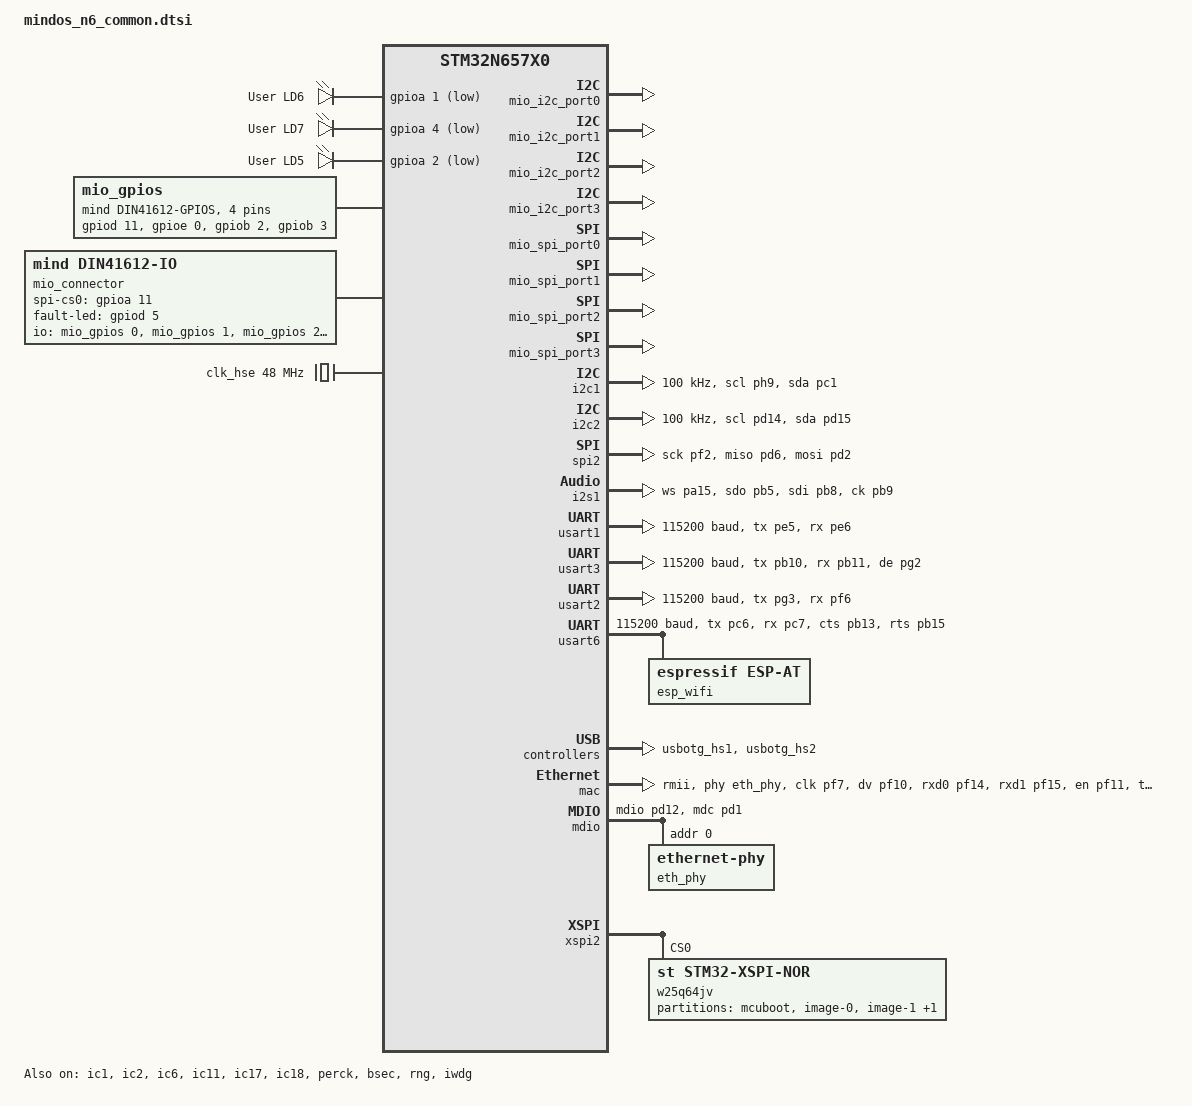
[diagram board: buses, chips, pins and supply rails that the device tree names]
/*
 * Copyright (c) 2025 STMicroelectronics
 *
 * SPDX-License-Identifier: Apache-2.0
 */

#include <st/n6/stm32n657X0.dtsi>
#include <st/n6/stm32n657x0hxq-pinctrl.dtsi>
#include <zephyr/dt-bindings/flash_controller/xspi.h>
#include <zephyr/dt-bindings/gpio/raspberrypi-csi-connector.h>
#include <zephyr/dt-bindings/input/input-event-codes.h>

/ {
	chosen {
		zephyr,console = &usart1;
		zephyr,shell-uart = &usart1;
		zephyr,sram = &axisram2;
		zephyr,canbus = &fdcan1;
		spi-flash0 = &w25q64jv;
		zephyr,flash-controller = &w25q64jv;
		zephyr,flash = &ext_flash;
		zephyr,code-partition = &slot0_partition;
		mcuboot,image-ram = &axisram1;
	};

	leds: leds {
		compatible = "gpio-leds";

		green_led: led_1 {
			gpios = <&gpioa 1 GPIO_ACTIVE_LOW>;
			label = "User LD6";
		};

		blue_led: led_2 {
			gpios = <&gpioa 4 GPIO_ACTIVE_LOW>;
			label = "User LD7";
		};

		red_led: led_3 {
			gpios = <&gpioa 2 GPIO_ACTIVE_LOW>;
			label = "User LD5";
		};
	};

	aliases {
		led0 = &green_led;
		led1 = &blue_led;
		led2 = &red_led;
		rtc = &rtc;
		watchdog0 = &iwdg;
	};
};

&clk_hse {
	hse-div2;
	clock-frequency = <DT_FREQ_M(48)>;
	status = "okay";
};

&clk_hsi {
	hsi-div = <1>;
	status = "okay";
};

&clk_lse {
	status = "disabled";
};

&pll1 {
	clocks = <&clk_hse>;
	div-m = <3>;
	mul-n = <150>;
	div-p1 = <1>;
	div-p2 = <1>;
	status = "okay";
};

&pll3 {
	clocks = <&clk_hse>;
	div-m = <3>;
	mul-n = <125>;
	div-p1 = <1>;
	div-p2 = <1>;
	status = "okay";
};

&ic1 {
	pll-src = <1>;
	ic-div = <3>;
	status = "okay";
};

&ic2 {
	pll-src = <1>;
	ic-div = <6>;
	status = "okay";
};

&ic6 {
	pll-src = <3>;
	ic-div = <2>;
	status = "okay";
};

&ic11 {
	pll-src = <1>;
	ic-div = <3>;
	status = "okay";
};

&ic17 {
	pll-src = <1>;
	ic-div = <4>;
	status = "okay";
};

/* IC18 must be enabled for the 27MHz CSIPHY */
&ic18 {
	pll-src = <1>;
	ic-div = <60>;
	status = "okay";
};

&perck {
	clocks = <&rcc STM32_SRC_HSI PER_SEL(0)>;
	status = "okay";
};

&cpusw {
	clocks = <&rcc STM32_SRC_IC1 CPU_SEL(3)>;
	clock-frequency = <DT_FREQ_M(800)>;
	status = "okay";
};

&rcc {
	/* ic2, ic6 & ic11 must all be enabled to set ic2 as SYSCLK */
	clocks = <&ic2>;
	clock-frequency = <DT_FREQ_M(400)>;
	ahb-prescaler = <2>;
	timg-prescaler = <2>;
};

io_cnf_i2c:&i2c1 {
	clocks = <&rcc STM32_CLOCK(APB1, 21)>,
		 <&rcc STM32_SRC_CKPER I2C1_SEL(1)>;
	pinctrl-0 = <&i2c1_scl_ph9 &i2c1_sda_pc1>;
	pinctrl-names = "default";
	scl-gpios = <&gpioh 9 GPIO_ACTIVE_HIGH>;
	sda-gpios = <&gpioc 1 GPIO_ACTIVE_HIGH>;
	clock-frequency = <I2C_BITRATE_STANDARD>;
	status = "okay";
};

io_i2c: &i2c2 {
	clocks = <&rcc STM32_CLOCK(APB1, 22)>,
		 <&rcc STM32_SRC_CKPER I2C2_SEL(1)>;
	pinctrl-0 = <&i2c2_scl_pd14 &i2c2_sda_pd15>;
	pinctrl-names = "default";
	scl-gpios = <&gpiod 14 GPIO_ACTIVE_HIGH>;
	sda-gpios = <&gpiod 15 GPIO_ACTIVE_HIGH>;
	clock-frequency = <I2C_BITRATE_STANDARD>;
	status = "okay";
};

io_spi:&spi2 {
	clocks = <&rcc STM32_CLOCK(APB1, 14)>,
		 <&rcc STM32_SRC_CKPER SPI2_SEL(1)>;
	/* IO_SPI_CS0 (PA11) is a GPIO driven by the I/O card SPI port slots */
	pinctrl-0 = <&spi2_sck_pf2 &spi2_miso_pd6 &spi2_mosi_pd2>;
	pinctrl-names = "default";
	status = "okay";
};

io_i2s:&i2s1 {
        clocks = <&rcc STM32_CLOCK(APB2, 12)>,
                 <&rcc STM32_SRC_CKPER SPI1_SEL(1)>;
        pinctrl-0 = <&i2s1_ws_pa15 &i2s1_sdo_pb5 &i2s1_sdi_pb8 &i2s1_ck_pb9>;
        pinctrl-names = "default";
        status = "okay";
};

io_debug:&usart1 {
	clocks = <&rcc STM32_CLOCK(APB2, 4)>,
		 <&rcc STM32_SRC_CKPER USART1_SEL(1)>;
	pinctrl-0 = <&usart1_tx_pe5 &usart1_rx_pe6>;
	pinctrl-names = "default";
	current-speed = <115200>;
	status = "okay";
};

io_rs485: &usart3 {
	clocks = <&rcc STM32_CLOCK(APB1, 18)>,
		 <&rcc STM32_SRC_CKPER USART3_SEL(1)>;
	pinctrl-0 = <&usart3_tx_pb10 &usart3_rx_pb11 &usart3_de_pg2>;
	pinctrl-names = "default";
	current-speed = <115200>;
	de-enable;
	status = "okay";
};

io_uart:&usart2 {
        clocks = <&rcc STM32_CLOCK(APB1, 17)>,
                 <&rcc STM32_SRC_CKPER USART2_SEL(1)>;
        pinctrl-0 = <&usart2_tx_pg3 &usart2_rx_pf6>;
        pinctrl-names = "default";
        current-speed = <115200>;
        status = "okay";
};

io_rs485_uart:&usart3 {
	clocks = <&rcc STM32_CLOCK(APB1, 18)>,
		 <&rcc STM32_SRC_CKPER USART3_SEL(1)>;
	pinctrl-0 = <&usart3_tx_pb10 &usart3_rx_pb11  &usart3_de_pg2>;
	pinctrl-names = "default";
	current-speed = <115200>;
	de-enable;
	status = "okay";
};

esp_wifi_uart:&usart6 {
        clocks = <&rcc STM32_CLOCK(APB2, 5)>,
                 <&rcc STM32_SRC_CKPER USART6_SEL(1)>;
        pinctrl-0 = <&usart6_tx_pc6 &usart6_rx_pc7 &usart6_cts_pb13 &usart6_rts_pb15>;
	        pinctrl-names = "default";
        current-speed = <115200>;
        status = "okay";

	esp_wifi: esp-wifi {
        	compatible = "espressif,esp-at";
        //power-gpios = <&gpio0 18 (GPIO_ACTIVE_HIGH | GPIO_OPEN_DRAIN)>;
        	status = "okay";
    	};

};

zephyr_udc0: &usbotg_hs1 {
	status = "okay";
};

zephyr_udc1: &usbotg_hs2 {
        status = "okay";
};

&mac {
	status = "okay";
	pinctrl-0 = <&eth1_rmii_ref_clk_pf7
		     &eth1_rmii_crs_dv_pf10
		     &eth1_rmii_rxd0_pf14
		     &eth1_rmii_rxd1_pf15
		     &eth1_rmii_tx_en_pf11
		     &eth1_rmii_txd0_pf12
		     &eth1_rmii_txd1_pf13>;
	pinctrl-names = "default";
	phy-connection-type = "rmii";
	phy-handle = <&eth_phy>;
	/*
	 * An area of OTP is dedicated to holding Ethernet MAC addresses;
	 * however, it is not programmed during manufacturing. Reading an
	 * unprogrammed OTP returns all zeroes, which breaks Ethernet if used
	 * as MAC address. To allow the use of Ethernet even on virgin boards,
	 * we do not define the nvmem-cell properties below (commented out)
	 * so that default MAC address source is not the OTP memory.
	 *
	 * Once a MAC address has been programmed in OTP, you can enable
	 * its use by uncommenting the following properties:
	 */
	/* nvmem-cells = <&mac_address0>; */
	/* nvmem-cell-names = "mac-address"; */
};

&mdio {
	status = "okay";
	pinctrl-0 = <&eth1_mdio_pd12 &eth1_mdc_pd1>;
	pinctrl-names = "default";

	eth_phy: ethernet-phy@0 {
		compatible = "ethernet-phy";
		reg = <0x0>;
	};
};

&xspi2 {
	pinctrl-0 = <&xspim_p2_ncs1_pn1 &xspim_p2_clk_pn6
		     &xspim_p2_io0_pn2 &xspim_p2_io1_pn3 &xspim_p2_io2_pn4
		     &xspim_p2_io3_pn5>;
	pinctrl-names = "default";
	status = "okay";

	w25q64jv: qspi-nor-flash@0 {
		compatible = "st,stm32-xspi-nor";
		reg = <0>;
		size = <DT_SIZE_M(64)>; /* 64 Mbits */
		ospi-max-frequency = <DT_FREQ_M(50)>;
		spi-bus-width = <XSPI_QUAD_MODE>;
		data-rate = <XSPI_STR_TRANSFER>;
		status = "okay";

		/* XSPI external flash mapping */
		#address-cells = <1>;
		#size-cells = <1>;
		ranges = <0x0 0x70000000 DT_SIZE_M(8)>;

		ext_flash: ext-flash@0 {
			compatible = "soc-nv-flash";
			reg = <0x0 DT_SIZE_M(8)>;
			write-block-size = <1>;
			erase-block-size = <DT_SIZE_K(4)>;
			#address-cells = <1>;
			#size-cells = <1>;
			ranges;

			partitions {
				#address-cells = <1>;
				#size-cells = <1>;
				ranges;

				boot_partition: partition@0 {
					compatible = "zephyr,mapped-partition";
					label = "mcuboot";
					reg = <0x00000000 DT_SIZE_K(64)>;
				};

				slot0_partition: partition@10000 {
					compatible = "zephyr,mapped-partition";
					label = "image-0";
					reg = <0x00010000 DT_SIZE_K(4032)>;
				};

				slot1_partition: partition@400000 {
					compatible = "zephyr,mapped-partition";
					label = "image-1";
					reg = <0x00400000 DT_SIZE_K(4032)>;
				};

				storage_partition: partition@7f0000 {
					compatible = "zephyr,mapped-partition";
					label = "storage";
					reg = <0x007f0000 DT_SIZE_K(64)>;
				};
			};
		};
	};
};

&bsec {
	/* Required by "iocell" and "ethernet" drivers */
	status = "okay";
};

&rng {
	status = "okay";
};

&iwdg {
	status = "okay";
};

&rtc {
	clocks = <&rcc STM32_CLOCK(APB4, 16)>,
		 <&rcc STM32_SRC_LSE RTC_SEL(1)>;
	status = "disabled";
};

/* DIN41612 I/O card connector (see the mind_io module) */
/ {
	mio_gpios: connector-gpios {
		compatible = "mind,din41612-gpios";
		#gpio-cells = <2>;
		gpio-map-mask = <0xffffffff 0xffffffc0>;
		gpio-map-pass-thru = <0 0x3f>;
		gpio-map = <0 0 &gpiod 11 0>,	/* IO_GPIO0 */
			   <1 0 &gpioe 0 0>,	/* IO_GPIO1 */
			   <2 0 &gpiob 2 0>,	/* IO_GPIO2 */
			   <3 0 &gpiob 3 0>;	/* IO_GPIO3 */
	};

	mio_connector: connector {
		compatible = "mind,din41612-io";
		i2c-cnf = <&i2c1>;
		i2c-io = <&i2c2>;
		spi = <&spi2>;
		uart = <&usart2>;
		rs485 = <&usart3>;
		i2s = <&i2s1>;
		spi-cs0-gpios = <&gpioa 11 GPIO_ACTIVE_HIGH>;
		fault-led-gpios = <&gpiod 5 GPIO_ACTIVE_HIGH>;
		io-gpios = <&mio_gpios 0 0>, <&mio_gpios 1 0>, <&mio_gpios 2 0>, <&mio_gpios 3 0>;

		mio_i2c_port0: i2c-port-0 {
			compatible = "mind,io-i2c-port";
			slot = <0>;
			#address-cells = <1>;
			#size-cells = <0>;
		};

		mio_i2c_port1: i2c-port-1 {
			compatible = "mind,io-i2c-port";
			slot = <1>;
			#address-cells = <1>;
			#size-cells = <0>;
		};

		mio_i2c_port2: i2c-port-2 {
			compatible = "mind,io-i2c-port";
			slot = <2>;
			#address-cells = <1>;
			#size-cells = <0>;
		};

		mio_i2c_port3: i2c-port-3 {
			compatible = "mind,io-i2c-port";
			slot = <3>;
			#address-cells = <1>;
			#size-cells = <0>;
		};

		mio_spi_port0: spi-port-0 {
			compatible = "mind,io-spi-port";
			slot = <0>;
			#address-cells = <1>;
			#size-cells = <0>;
		};

		mio_spi_port1: spi-port-1 {
			compatible = "mind,io-spi-port";
			slot = <1>;
			#address-cells = <1>;
			#size-cells = <0>;
		};

		mio_spi_port2: spi-port-2 {
			compatible = "mind,io-spi-port";
			slot = <2>;
			#address-cells = <1>;
			#size-cells = <0>;
		};

		mio_spi_port3: spi-port-3 {
			compatible = "mind,io-spi-port";
			slot = <3>;
			#address-cells = <1>;
			#size-cells = <0>;
		};
	};
};
